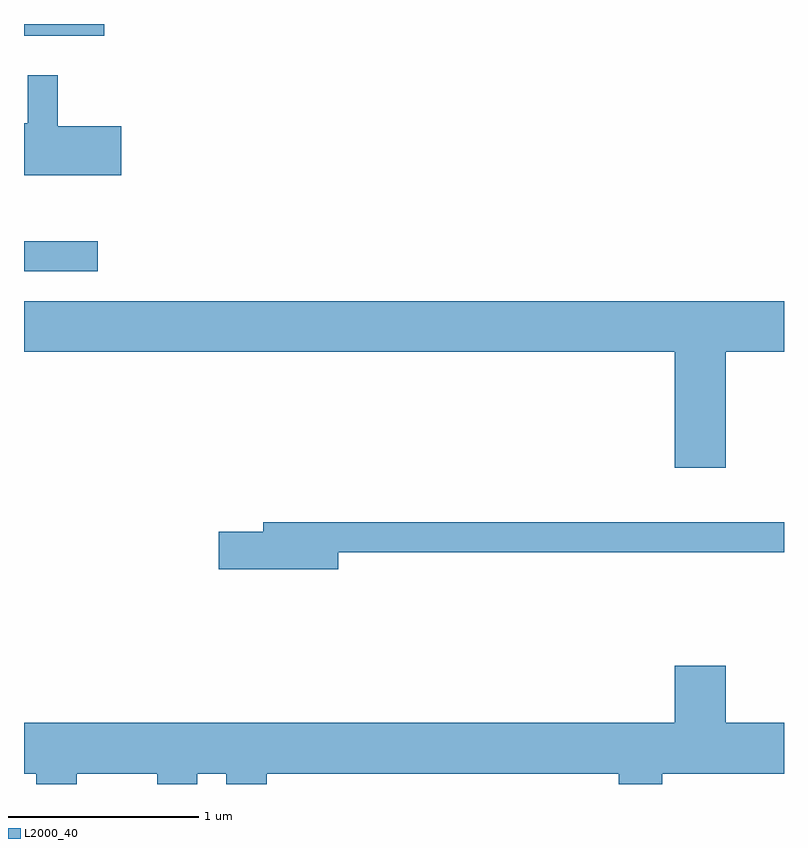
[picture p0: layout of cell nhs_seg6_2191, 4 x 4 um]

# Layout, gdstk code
import gdstk
lib = gdstk.Library(unit=1e-6, precision=1e-09)
def R(c, l, rs):  # rectangles x0, y0, x1, y1
    for r in rs: c.add(gdstk.rectangle(r[:2], r[2:], *l))
def P(c, l, *ps):  # polygons
    for p in ps: c.add(gdstk.Polygon(p, *l))
L2000_40 = (2000, 40)

nhs_seg6_2191 = lib.new_cell('nhs_seg6_2191')
R(nhs_seg6_2191, L2000_40, [(251.611,1594.861,251.998,1595.019), (251.611,1596.101,252.034,1596.162)])
P(nhs_seg6_2191, L2000_40, [(252.124,1595.624),(251.789,1595.624),(251.789,1595.893),(251.631,1595.893),(251.631,1595.639),(251.611,1595.639),(251.611,1595.366),(252.124,1595.366)],
  [(255.304,1594.436),(255.611,1594.436),(255.611,1594.704),(251.611,1594.704),(251.611,1594.436),(255.036,1594.436),(255.036,1593.826),(255.304,1593.826)],
  [(253.264,1593.381),(255.611,1593.381),(255.611,1593.539),(252.871,1593.539),(252.871,1593.489),(252.636,1593.489),(252.636,1593.291),(253.264,1593.291)],
  [(251.889,1592.216),(252.311,1592.216),(252.311,1592.162),(252.524,1592.162),(252.524,1592.216),(252.676,1592.216),(252.676,1592.162),(252.889,1592.162),(252.889,1592.216),(254.741,1592.216),(254.741,1592.162),(254.969,1592.162),(254.969,1592.216),(255.611,1592.216),(255.611,1592.484),(255.304,1592.484),(255.304,1592.784),(255.036,1592.784),(255.036,1592.484),(251.611,1592.484),(251.611,1592.216),(251.676,1592.216),(251.676,1592.162),(251.889,1592.162)])

lib.write_gds('nhs_seg6_2191.gds')
